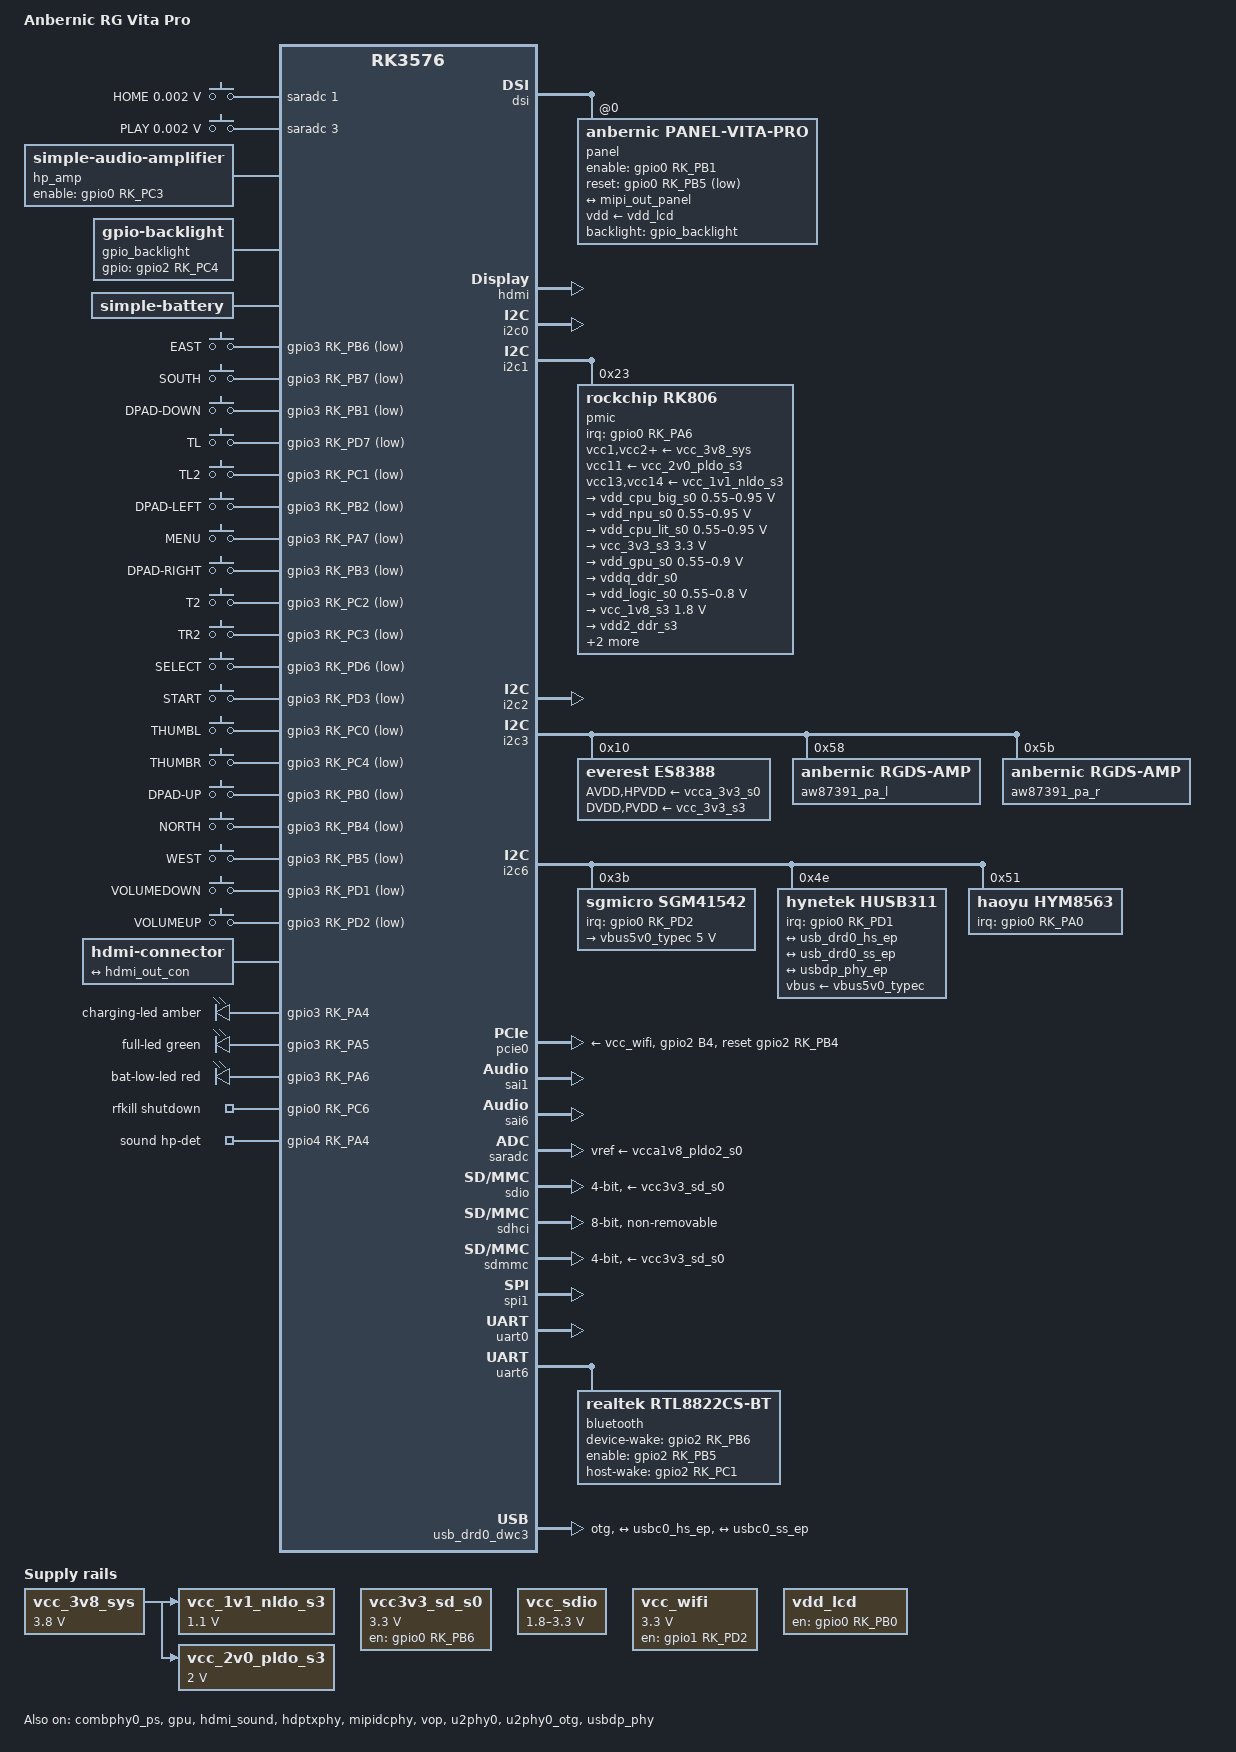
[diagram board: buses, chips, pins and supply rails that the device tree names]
// SPDX-License-Identifier: (GPL-2.0+ OR MIT)
/*
 * Copyright (c) 2026 Chris Morgan <macromorgan@hotmail.com>
 */

/dts-v1/;

#include <dt-bindings/gpio/gpio.h>
#include <dt-bindings/input/linux-event-codes.h>
#include <dt-bindings/leds/common.h>
#include <dt-bindings/pinctrl/rockchip.h>
#include <dt-bindings/pwm/pwm.h>
#include <dt-bindings/soc/rockchip,vop2.h>
#include <dt-bindings/usb/pd.h>

#include "rk3576.dtsi"

/ {
	model = "Anbernic RG Vita Pro";
	chassis-type = "handset";
	compatible = "anbernic,rg-vita-pro", "rockchip,rk3576";

	aliases {
		mmc0 = &sdhci;
		mmc1 = &sdmmc;
		mmc2 = &sdio;
	};

	chosen {
		stdout-path = "serial0:1500000n8";
	};

	adc_keys_home: adc-keys-home {
		compatible = "adc-keys";
		io-channel-names = "buttons";
		io-channels = <&saradc 1>;
		keyup-threshold-microvolt = <1800000>;
		poll-interval = <60>;

		button-home {
			label = "HOME";
			linux,code = <KEY_HOME>;
			press-threshold-microvolt = <1750>;
		};
	};

	adc_keys_play: adc-keys-play {
		compatible = "adc-keys";
		io-channel-names = "buttons";
		io-channels = <&saradc 3>;
		keyup-threshold-microvolt = <1300000>;
		poll-interval = <60>;

		button-play {
			label = "PLAY";
			linux,code = <KEY_PLAYPAUSE>;
			press-threshold-microvolt = <1750>;
		};
	};

	hp_amp: audio-amplifier {
		compatible = "simple-audio-amplifier";
		enable-gpios = <&gpio0 RK_PC3 GPIO_ACTIVE_HIGH>;
		pinctrl-0 = <&hp_amp_enable_h>;
		pinctrl-names = "default";
		sound-name-prefix = "Headphone Amp";
	};

	/*
	 * LEDs and Backlights can be controlled as a PWM, but PWM
	 * support is not yet available.
	 */
	gpio_backlight: backlight {
		compatible = "gpio-backlight";
		gpios = <&gpio2 RK_PC4 GPIO_ACTIVE_HIGH>;
		pinctrl-0 = <&led_backlight_h>;
		pinctrl-names = "default";
	};

	/*
	 * Battery values from BSP except for the following:
	 *
	 * factory-internal-resistance-micro-ohms - This was set to 80 which
	 * is likely incorrect and changed to 80000.
	 *
	 * charge-full-design-microamp-hours - Was set to 8000000 but the
	 * physical battery says 5000000.
	 *
	 * constant-charge-current-max-microamp - Was set to 10000000 which
	 * both seems high and exceeds what the charger hardware can do.
	 * Setting to 3800000 which is the maximum input current the charger
	 * can handle.
	 */
	battery: battery {
		compatible = "simple-battery";
		charge-full-design-microamp-hours = <5000000>;
		charge-term-current-microamp = <300000>;
		constant-charge-current-max-microamp = <3800000>;
		constant-charge-voltage-max-microvolt = <4350000>;
		factory-internal-resistance-micro-ohms = <80000>;
		precharge-current-microamp = <180000>;
		precharge-upper-limit-microvolt = <3600000>;
		voltage-max-design-microvolt = <4350000>;
		voltage-min-design-microvolt = <3000000>;
	};

	gpio_keys_control: gpio-keys-control {
		compatible = "gpio-keys";
		pinctrl-0 = <&gamepad_keys_l>;
		pinctrl-names = "default";

		button-a {
			gpios = <&gpio3 RK_PB6 GPIO_ACTIVE_LOW>;
			label = "EAST";
			linux,code = <BTN_EAST>;
		};

		button-b {
			gpios = <&gpio3 RK_PB7 GPIO_ACTIVE_LOW>;
			label = "SOUTH";
			linux,code = <BTN_SOUTH>;
		};

		button-down {
			gpios = <&gpio3 RK_PB1 GPIO_ACTIVE_LOW>;
			label = "DPAD-DOWN";
			linux,code = <BTN_DPAD_DOWN>;
		};

		button-l1 {
			gpios = <&gpio3 RK_PD7 GPIO_ACTIVE_LOW>;
			label = "TL";
			linux,code = <BTN_TL>;
		};

		button-l2 {
			gpios = <&gpio3 RK_PC1 GPIO_ACTIVE_LOW>;
			label = "TL2";
			linux,code = <BTN_TL2>;
		};

		button-left {
			gpios = <&gpio3 RK_PB2 GPIO_ACTIVE_LOW>;
			label = "DPAD-LEFT";
			linux,code = <BTN_DPAD_LEFT>;
		};

		button-menu {
			gpios = <&gpio3 RK_PA7 GPIO_ACTIVE_LOW>;
			label = "MENU";
			linux,code = <BTN_MODE>;
		};

		button-right {
			gpios = <&gpio3 RK_PB3 GPIO_ACTIVE_LOW>;
			label = "DPAD-RIGHT";
			linux,code = <BTN_DPAD_RIGHT>;
		};

		button-r1 {
			gpios = <&gpio3 RK_PC2 GPIO_ACTIVE_LOW>;
			label = "T2";
			linux,code = <BTN_TR>;
		};

		button-r2 {
			gpios = <&gpio3 RK_PC3 GPIO_ACTIVE_LOW>;
			label = "TR2";
			linux,code = <BTN_TR2>;
		};

		button-select {
			gpios = <&gpio3 RK_PD6 GPIO_ACTIVE_LOW>;
			label = "SELECT";
			linux,code = <BTN_SELECT>;
		};

		button-start {
			gpios = <&gpio3 RK_PD3 GPIO_ACTIVE_LOW>;
			label = "START";
			linux,code = <BTN_START>;
		};

		button-thumbl {
			gpios = <&gpio3 RK_PC0 GPIO_ACTIVE_LOW>;
			label = "THUMBL";
			linux,code = <BTN_THUMBL>;
		};

		button-thumbr {
			gpios = <&gpio3 RK_PC4 GPIO_ACTIVE_LOW>;
			label = "THUMBR";
			linux,code = <BTN_THUMBR>;
		};

		button-up {
			gpios = <&gpio3 RK_PB0 GPIO_ACTIVE_LOW>;
			label = "DPAD-UP";
			linux,code = <BTN_DPAD_UP>;
		};

		button-x {
			gpios = <&gpio3 RK_PB4 GPIO_ACTIVE_LOW>;
			label = "NORTH";
			linux,code = <BTN_NORTH>;
		};

		button-y {
			gpios = <&gpio3 RK_PB5 GPIO_ACTIVE_LOW>;
			label = "WEST";
			linux,code = <BTN_WEST>;
		};
	};

	gpio_keys_volume: gpio-keys-volume {
		compatible = "gpio-keys";
		autorepeat;
		pinctrl-0 = <&vol_keys_l>;
		pinctrl-names = "default";

		vol-down-key {
			gpios = <&gpio3 RK_PD1 GPIO_ACTIVE_LOW>;
			label = "VOLUMEDOWN";
			linux,code = <KEY_VOLUMEDOWN>;
		};

		vol-up-key {
			gpios = <&gpio3 RK_PD2 GPIO_ACTIVE_LOW>;
			label = "VOLUMEUP";
			linux,code = <KEY_VOLUMEUP>;
		};
	};

	hdmi-con {
		compatible = "hdmi-connector";
		type = "c";

		port {
			hdmi_con_in: endpoint {
				remote-endpoint = <&hdmi_out_con>;
			};
		};
	};

	gpio_leds: leds {
		compatible = "gpio-leds";
		pinctrl-0 = <&led_amber_h>, <&led_green_h>, <&led_red_h>;
		pinctrl-names = "default";

		charging-led {
			color = <LED_COLOR_ID_AMBER>;
			function = LED_FUNCTION_CHARGING;
			gpios = <&gpio3 RK_PA4 GPIO_ACTIVE_HIGH>;
		};

		full-led {
			color = <LED_COLOR_ID_GREEN>;
			function = LED_FUNCTION_POWER;
			gpios = <&gpio3 RK_PA5 GPIO_ACTIVE_HIGH>;
		};

		bat-low-led {
			color = <LED_COLOR_ID_RED>;
			function = LED_FUNCTION_ALARM;
			gpios = <&gpio3 RK_PA6 GPIO_ACTIVE_HIGH>;
		};
	};

	vcc_1v1_nldo_s3: regulator-vcc-1v1-nldo-s3 {
		compatible = "regulator-fixed";
		regulator-always-on;
		regulator-boot-on;
		regulator-max-microvolt = <1100000>;
		regulator-min-microvolt = <1100000>;
		regulator-name = "vcc_1v1_nldo_s3";
		vin-supply = <&vcc_3v8_sys>;
	};

	vcc_2v0_pldo_s3: regulator-vcc-2v0-pldo-s3 {
		compatible = "regulator-fixed";
		regulator-always-on;
		regulator-boot-on;
		regulator-max-microvolt = <2000000>;
		regulator-min-microvolt = <2000000>;
		regulator-name = "vcc_2v0_pldo_s3";
		vin-supply = <&vcc_3v8_sys>;
	};

	vcc_3v8_sys: regulator-vcc-3v8-sys {
		compatible = "regulator-fixed";
		regulator-always-on;
		regulator-boot-on;
		regulator-max-microvolt = <3800000>;
		regulator-min-microvolt = <3800000>;
		regulator-name = "vcc_3v8_sys";
	};

	vcc3v3_sd_s0: regulator-vcc3v3-sd-s0 {
		compatible = "regulator-fixed";
		enable-active-high;
		gpio = <&gpio0 RK_PB6 GPIO_ACTIVE_HIGH>;
		pinctrl-0 = <&vcc_3v3_sd_s0_h>;
		pinctrl-names = "default";
		regulator-max-microvolt = <3300000>;
		regulator-min-microvolt = <3300000>;
		regulator-name = "vcc3v3_sd_s0";
		regulator-state-mem {
			regulator-off-in-suspend;
		};
	};

	vcc_sdio: regulator-vcc-sdio {
		compatible = "regulator-gpio";
		regulator-name = "vcc_sdio";
		gpios = <&gpio0 RK_PB4 GPIO_ACTIVE_HIGH>;
		pinctrl-0 = <&vcc_sdio_h>;
		pinctrl-names = "default";
		regulator-max-microvolt = <3300000>;
		regulator-min-microvolt = <1800000>;
		states = <1800000 0>, <3300000 1>;
	};

	vcc_wifi: regulator-vcc-wifi {
		compatible = "regulator-fixed";
		regulator-name = "vcc_wifi";
		enable-active-high;
		gpios = <&gpio1 RK_PD2 GPIO_ACTIVE_HIGH>;
		pinctrl-0 = <&vcc_wifi_h>;
		pinctrl-names = "default";
		regulator-max-microvolt = <3300000>;
		regulator-min-microvolt = <3300000>;
		regulator-state-mem {
			regulator-on-in-suspend;
		};
	};

	vdd_lcd: regulator-vdd-lcd {
		compatible = "regulator-fixed";
		regulator-name = "vdd_lcd";
		regulator-always-on;
		enable-active-high;
		gpios = <&gpio0 RK_PB0 GPIO_ACTIVE_HIGH>;
		pinctrl-0 = <&vdd_lcd_h>;
		pinctrl-names = "default";
		regulator-state-mem {
			regulator-off-in-suspend;
		};
	};

	rfkill {
		compatible = "rfkill-gpio";
		pinctrl-names = "default";
		pinctrl-0 = <&wifi_en_h>;
		radio-type = "wlan";
		shutdown-gpios = <&gpio0 RK_PC6 GPIO_ACTIVE_HIGH>;
	};

	sound: sound {
		compatible = "simple-audio-card";
		pinctrl-0 = <&hp_det>;
		pinctrl-names = "default";
		simple-audio-card,aux-devs = <&aw87391_pa_l>, <&aw87391_pa_r>,
					     <&hp_amp>;
		simple-audio-card,format = "i2s";
		simple-audio-card,hp-det-gpios = <&gpio4 RK_PA4 GPIO_ACTIVE_HIGH>;
		simple-audio-card,mclk-fs = <256>;
		simple-audio-card,name = "rockchip,es8388-codec";
		simple-audio-card,pin-switches = "Headphones", "Internal Speakers";
		simple-audio-card,routing =
			"LINPUT1", "Mic Jack",
			"LINPUT2", "Mic Jack",
			"RINPUT1", "Onboard Microphone",
			"RINPUT2", "Onboard Microphone",
			"Headphones", "Headphone Amp OUTL",
			"Headphones", "Headphone Amp OUTR",
			"Headphone Amp INL", "LOUT1",
			"Headphone Amp INR", "ROUT1",
			"Internal Speakers", "Left Amp OUT",
			"Internal Speakers", "Right Amp OUT",
			"Left Amp IN", "LOUT2",
			"Right Amp IN", "ROUT2";
		simple-audio-card,widgets =
			"Microphone", "Mic Jack",
			"Microphone", "Onboard Microphone",
			"Headphone", "Headphones",
			"Speaker", "Internal Speakers";
		status = "okay";

		simple-audio-card,codec {
			sound-dai = <&es8388>;
			system-clock-frequency = <12288000>;
		};

		simple-audio-card,cpu {
			sound-dai = <&sai1>;
		};
	};
};

&combphy0_ps {
	status = "okay";
};

&cpu_b0 {
	cpu-supply = <&vdd_cpu_big_s0>;
};

&cpu_b1 {
	cpu-supply = <&vdd_cpu_big_s0>;
};

&cpu_b2 {
	cpu-supply = <&vdd_cpu_big_s0>;
};

&cpu_b3 {
	cpu-supply = <&vdd_cpu_big_s0>;
};

&cpu_l0 {
	cpu-supply = <&vdd_cpu_lit_s0>;
};

&cpu_l1 {
	cpu-supply = <&vdd_cpu_lit_s0>;
};

&cpu_l2 {
	cpu-supply = <&vdd_cpu_lit_s0>;
};

&cpu_l3 {
	cpu-supply = <&vdd_cpu_lit_s0>;
};

&dsi {
	status = "okay";
	#address-cells = <1>;
	#size-cells = <0>;

	panel: panel@0 {
		compatible = "anbernic,panel-vita-pro", "anbernic,td4310";
		reg = <0>;
		backlight = <&gpio_backlight>;
		enable-gpios = <&gpio0 RK_PB1 GPIO_ACTIVE_HIGH>;
		pinctrl-names = "default";
		pinctrl-0 = <&lcd_enable>, <&lcd_rst>;
		reset-gpios = <&gpio0 RK_PB5 GPIO_ACTIVE_LOW>;
		rotation = <270>;
		vdd-supply = <&vdd_lcd>;

		port {
			mipi_in_panel: endpoint {
				remote-endpoint = <&mipi_out_panel>;
			};
		};
	};
};

&dsi_in {
	dsi_in_vp1: endpoint {
		remote-endpoint = <&vp1_out_dsi>;
	};
};

&dsi_out {
	mipi_out_panel: endpoint {
		remote-endpoint = <&mipi_in_panel>;
	};
};

&gpu {
	mali-supply = <&vdd_gpu_s0>;
	status = "okay";
};

&hdmi {
	status = "okay";
};

&hdmi_in {
	hdmi_in_vp0: endpoint {
		remote-endpoint = <&vp0_out_hdmi>;
	};
};

&hdmi_out {
	hdmi_out_con: endpoint {
		remote-endpoint = <&hdmi_con_in>;
	};
};

&hdmi_sound {
	status = "okay";
};

&hdptxphy {
	status = "okay";
};

&i2c0 {
	pinctrl-0 = <&i2c0m1_xfer>;
	pinctrl-names = "default";
	status = "okay";

	/* synaptics,dsx-i2c touchscreen at 0x70 */
};

&i2c1 {
	status = "okay";

	pmic@23 {
		compatible = "rockchip,rk806";
		reg = <0x23>;
		#gpio-cells = <2>;
		gpio-controller;
		interrupt-parent = <&gpio0>;
		interrupts = <RK_PA6 IRQ_TYPE_LEVEL_LOW>;
		pinctrl-names = "default";
		pinctrl-0 = <&pmic_pins
			     &rk806_dvs1_null
			     &rk806_dvs2_null
			     &rk806_dvs3_null>;
		system-power-controller;
		vcc1-supply = <&vcc_3v8_sys>;
		vcc2-supply = <&vcc_3v8_sys>;
		vcc3-supply = <&vcc_3v8_sys>;
		vcc4-supply = <&vcc_3v8_sys>;
		vcc5-supply = <&vcc_3v8_sys>;
		vcc6-supply = <&vcc_3v8_sys>;
		vcc7-supply = <&vcc_3v8_sys>;
		vcc8-supply = <&vcc_3v8_sys>;
		vcc9-supply = <&vcc_3v8_sys>;
		vcc10-supply = <&vcc_3v8_sys>;
		vcc11-supply = <&vcc_2v0_pldo_s3>;
		vcc12-supply = <&vcc_3v8_sys>;
		vcc13-supply = <&vcc_1v1_nldo_s3>;
		vcc14-supply = <&vcc_1v1_nldo_s3>;
		vcca-supply = <&vcc_3v8_sys>;

		rk806_dvs1_null: dvs1-null-pins {
			pins = "gpio_pwrctrl1";
			function = "pin_fun0";
		};

		rk806_dvs2_null: dvs2-null-pins {
			pins = "gpio_pwrctrl2";
			function = "pin_fun0";
		};

		rk806_dvs3_null: dvs3-null-pins {
			pins = "gpio_pwrctrl3";
			function = "pin_fun0";
		};

		regulators {
			vdd_cpu_big_s0: dcdc-reg1 {
				regulator-always-on;
				regulator-boot-on;
				regulator-enable-ramp-delay = <400>;
				regulator-min-microvolt = <550000>;
				regulator-max-microvolt = <950000>;
				regulator-name = "vdd_cpu_big_s0";
				regulator-ramp-delay = <12500>;

				regulator-state-mem {
					regulator-off-in-suspend;
				};
			};

			vdd_npu_s0: dcdc-reg2 {
				regulator-boot-on;
				regulator-enable-ramp-delay = <400>;
				regulator-min-microvolt = <550000>;
				regulator-max-microvolt = <950000>;
				regulator-name = "vdd_npu_s0";
				regulator-ramp-delay = <12500>;

				regulator-state-mem {
					regulator-off-in-suspend;
				};
			};

			vdd_cpu_lit_s0: dcdc-reg3 {
				regulator-always-on;
				regulator-boot-on;
				regulator-min-microvolt = <550000>;
				regulator-max-microvolt = <950000>;
				regulator-name = "vdd_cpu_lit_s0";
				regulator-ramp-delay = <12500>;

				regulator-state-mem {
					regulator-off-in-suspend;
					regulator-suspend-microvolt = <750000>;
				};
			};

			vcc_3v3_s3: dcdc-reg4 {
				regulator-always-on;
				regulator-boot-on;
				regulator-min-microvolt = <3300000>;
				regulator-max-microvolt = <3300000>;
				regulator-name = "vcc_3v3_s3";

				regulator-state-mem {
					regulator-on-in-suspend;
					regulator-suspend-microvolt = <3300000>;
				};
			};

			vdd_gpu_s0: dcdc-reg5 {
				regulator-boot-on;
				regulator-enable-ramp-delay = <400>;
				regulator-min-microvolt = <550000>;
				regulator-max-microvolt = <900000>;
				regulator-name = "vdd_gpu_s0";
				regulator-ramp-delay = <12500>;

				regulator-state-mem {
					regulator-off-in-suspend;
					regulator-suspend-microvolt = <850000>;
				};
			};

			vddq_ddr_s0: dcdc-reg6 {
				regulator-always-on;
				regulator-boot-on;
				regulator-name = "vddq_ddr_s0";

				regulator-state-mem {
					regulator-off-in-suspend;
				};
			};

			vdd_logic_s0: dcdc-reg7 {
				regulator-always-on;
				regulator-boot-on;
				regulator-min-microvolt = <550000>;
				regulator-max-microvolt = <800000>;
				regulator-name = "vdd_logic_s0";

				regulator-state-mem {
					regulator-off-in-suspend;
				};
			};

			vcc_1v8_s3: dcdc-reg8 {
				regulator-always-on;
				regulator-boot-on;
				regulator-min-microvolt = <1800000>;
				regulator-max-microvolt = <1800000>;
				regulator-name = "vcc_1v8_s3";

				regulator-state-mem {
					regulator-on-in-suspend;
					regulator-suspend-microvolt = <1800000>;
				};
			};

			vdd2_ddr_s3: dcdc-reg9 {
				regulator-always-on;
				regulator-boot-on;
				regulator-name = "vdd2_ddr_s3";

				regulator-state-mem {
					regulator-on-in-suspend;
				};
			};

			vdd_ddr_s0: dcdc-reg10 {
				regulator-always-on;
				regulator-boot-on;
				regulator-min-microvolt = <550000>;
				regulator-max-microvolt = <1200000>;
				regulator-name = "vdd_ddr_s0";

				regulator-state-mem {
					regulator-off-in-suspend;
				};
			};

			vcca_1v8_s0: pldo-reg1 {
				regulator-always-on;
				regulator-boot-on;
				regulator-min-microvolt = <1800000>;
				regulator-max-microvolt = <1800000>;
				regulator-name = "vcca_1v8_s0";

				regulator-state-mem {
					regulator-off-in-suspend;
				};
			};

			vcca1v8_pldo2_s0: pldo-reg2 {
				regulator-always-on;
				regulator-boot-on;
				regulator-min-microvolt = <1800000>;
				regulator-max-microvolt = <1800000>;
				regulator-name = "vcca1v8_pldo2_s0";

				regulator-state-mem {
					regulator-off-in-suspend;
				};
			};

			vdda_1v2_s0: pldo-reg3 {
				regulator-always-on;
				regulator-boot-on;
				regulator-min-microvolt = <1200000>;
				regulator-max-microvolt = <1200000>;
				regulator-name = "vdda_1v2_s0";

				regulator-state-mem {
					regulator-off-in-suspend;
				};
			};

			vcca_3v3_s0: pldo-reg4 {
				regulator-always-on;
				regulator-boot-on;
				regulator-min-microvolt = <3300000>;
				regulator-max-microvolt = <3300000>;
				regulator-name = "vcca_3v3_s0";

				regulator-state-mem {
					regulator-off-in-suspend;
				};
			};

			vccio_sd_s0: pldo-reg5 {
				regulator-always-on;
				regulator-boot-on;
				regulator-min-microvolt = <1800000>;
				regulator-max-microvolt = <3300000>;
				regulator-name = "vccio_sd_s0";

				regulator-state-mem {
					regulator-on-in-suspend;
				};
			};

			vcca1v8_pldo6_s3: pldo-reg6 {
				regulator-always-on;
				regulator-boot-on;
				regulator-min-microvolt = <1800000>;
				regulator-max-microvolt = <1800000>;
				regulator-name = "vcca1v8_pldo6_s3";

				regulator-state-mem {
					regulator-on-in-suspend;
					regulator-suspend-microvolt = <1800000>;
				};
			};

			vdd_0v75_s3: nldo-reg1 {
				regulator-always-on;
				regulator-boot-on;
				regulator-min-microvolt = <750000>;
				regulator-max-microvolt = <750000>;
				regulator-name = "vdd_0v75_s3";

				regulator-state-mem {
					regulator-on-in-suspend;
					regulator-suspend-microvolt = <750000>;
				};
			};

			vdda_ddr_pll_s0: nldo-reg2 {
				regulator-always-on;
				regulator-boot-on;
				regulator-min-microvolt = <850000>;
				regulator-max-microvolt = <850000>;
				regulator-name = "vdda_ddr_pll_s0";

				regulator-state-mem {
					regulator-off-in-suspend;
				};
			};

			vdda0v75_hdmi_s0: nldo-reg3 {
				regulator-always-on;
				regulator-boot-on;
				regulator-min-microvolt = <750000>;
				regulator-max-microvolt = <750000>;
				regulator-name = "vdda0v75_hdmi_s0";

				regulator-state-mem {
					regulator-off-in-suspend;
				};
			};

			vdda_0v85_s0: nldo-reg4 {
				regulator-always-on;
				regulator-boot-on;
				regulator-min-microvolt = <850000>;
				regulator-max-microvolt = <850000>;
				regulator-name = "vdda_0v85_s0";

				regulator-state-mem {
					regulator-off-in-suspend;
				};
			};

			vdda_0v75_s0: nldo-reg5 {
				regulator-always-on;
				regulator-boot-on;
				regulator-min-microvolt = <750000>;
				regulator-max-microvolt = <750000>;
				regulator-name = "vdda_0v75_s0";

				regulator-state-mem {
					regulator-off-in-suspend;
				};
			};
		};
	};
};

&i2c2 {
	status = "okay";

	/* inv,icm42607 IMU at 0x68 */
};

&i2c3 {
	status = "okay";

	es8388: audio-codec@10 {
		compatible = "everest,es8388", "everest,es8328";
		reg = <0x10>;
		assigned-clock-rates = <12288000>;
		assigned-clocks = <&cru CLK_SAI1_MCLKOUT_TO_IO>;
		AVDD-supply = <&vcca_3v3_s0>;
		clocks = <&cru CLK_SAI1_MCLKOUT_TO_IO>;
		DVDD-supply = <&vcc_3v3_s3>;
		HPVDD-supply = <&vcca_3v3_s0>;
		pinctrl-0 = <&sai1m0_mclk>;
		pinctrl-names = "default";
		PVDD-supply = <&vcc_3v3_s3>;
		#sound-dai-cells = <0>;
	};

	aw87391_pa_l: audio-codec@58 {
		compatible = "anbernic,rgds-amp", "awinic,aw87391";
		reg = <0x58>;
		#sound-dai-cells = <0>;
		sound-name-prefix = "Left Amp";
	};

	aw87391_pa_r: audio-codec@5b {
		compatible = "anbernic,rgds-amp", "awinic,aw87391";
		reg = <0x5b>;
		#sound-dai-cells = <0>;
		sound-name-prefix = "Right Amp";
	};
};

&i2c6 {
	pinctrl-0 = <&i2c6m3_xfer>;
	pinctrl-names = "default";
	status = "okay";

	sgm41542: charger@3b {
		compatible = "sgmicro,sgm41542";
		reg = <0x3b>;
		input-current-limit-microamp = <3000000>;
		input-voltage-limit-microvolt = <4500000>;
		interrupt-parent = <&gpio0>;
		interrupts = <RK_PD2 IRQ_TYPE_EDGE_FALLING>;
		pinctrl-0 = <&charger_irq>;
		pinctrl-names = "default";
		monitored-battery = <&battery>;
		status = "okay";

		regulators {
			vbus5v0_typec: otg-vbus {
				regulator-name = "vbus5v0_typec";
				regulator-max-microvolt = <5000000>;
				regulator-min-microvolt = <5000000>;

				regulator-state-mem {
					regulator-off-in-suspend;
				};
			};
		};
	};

	/* Unused iSmartWare SW2001 encryption device at 0x3c */

	husb311: typec-port@4e {
		compatible = "hynetek,husb311", "richtek,rt1711h";
		reg = <0x4e>;
		interrupt-parent = <&gpio0>;
		interrupts = <RK_PD1 IRQ_TYPE_LEVEL_LOW>;
		pinctrl-0 = <&usbc_int>;
		pinctrl-names = "default";
		status = "okay";
		vbus-supply = <&vbus5v0_typec>;

		connector {
			compatible = "usb-c-connector";
			data-role = "dual";
			label = "USB-C";
			op-sink-microwatt = <10000000>;
			power-role = "dual";
			try-power-role  = "sink";

			sink-pdos = <PDO_FIXED(5000, 3000, PDO_FIXED_USB_COMM)
				     PDO_FIXED(9000, 2000, PDO_FIXED_USB_COMM)>;
			source-pdos = <PDO_FIXED(5000, 3000, PDO_FIXED_USB_COMM)>;

			altmodes {
				displayport {
					svid = /bits/ 16 <0xff01>;
					vdo = <0xffffffff>;
				};
			};

			ports {
				#address-cells = <1>;
				#size-cells = <0>;

				port@0 {
					reg = <0>;
					usbc0_hs_ep: endpoint {
						remote-endpoint = <&usb_drd0_hs_ep>;
					};
				};
				port@1 {
					reg = <1>;
					usbc0_ss_ep: endpoint {
						remote-endpoint = <&usb_drd0_ss_ep>;
					};
				};
				port@2 {
					reg = <2>;
					usbc0_dp_ep: endpoint {
						remote-endpoint = <&usbdp_phy_ep>;
					};
				};
			};
		};
	};

	hym8563: rtc@51 {
		compatible = "haoyu,hym8563";
		reg = <0x51>;
		#clock-cells = <0>;
		clock-output-names = "hym8563";
		interrupt-parent = <&gpio0>;
		interrupts = <RK_PA0 IRQ_TYPE_LEVEL_LOW>;
		pinctrl-names = "default";
		pinctrl-0 = <&hym8563_int>;
		wakeup-source;
	};

	/* cellwise,cw221X battery manager at 0x64 */
};

&mipidcphy {
	status = "okay";
};

&pcie0 {
	pinctrl-names = "default";
	pinctrl-0 = <&pcie0_perstn>;
	reset-gpios = <&gpio2 RK_PB4 GPIO_ACTIVE_HIGH>;
	vpcie3v3-supply = <&vcc_wifi>;
	status = "okay";
};

&pinctrl {
	audio {
		hp_amp_enable_h: hp-amp-enable {
			rockchip,pins = <0 RK_PC3 RK_FUNC_GPIO &pcfg_pull_none>;
		};

		hp_det: hp-det {
			rockchip,pins = <4 RK_PA4 RK_FUNC_GPIO &pcfg_pull_up>;
		};
	};

	bluetooth {
		bt_reset_gpio: bt-reset-pin {
			rockchip,pins = <2 RK_PB5 RK_FUNC_GPIO &pcfg_pull_none>;
		};

		bt_wake_gpio: bt-wake-pin {
			rockchip,pins = <2 RK_PB6 RK_FUNC_GPIO &pcfg_pull_none>;
		};

		bt_wake_host_irq: bt-wake-host-irq {
			rockchip,pins = <2 RK_PC1 RK_FUNC_GPIO &pcfg_pull_up>;
		};
	};

	charger {
		charger_irq: charger-irq {
			rockchip,pins = <0 RK_PD2 RK_FUNC_GPIO &pcfg_pull_up>;
		};
	};

	display {
		lcd_enable: lcd-enable {
			rockchip,pins = <0 RK_PB1 RK_FUNC_GPIO &pcfg_pull_none>;
		};

		lcd_rst: lcd-rst {
			rockchip,pins = <0 RK_PB5 RK_FUNC_GPIO &pcfg_pull_down>;
		};
	};

	gpio-keys {
		vol_keys_l: vol-keys_l {
			rockchip,pins =
				<3 RK_PD1 RK_FUNC_GPIO &pcfg_pull_up>,
				<3 RK_PD2 RK_FUNC_GPIO &pcfg_pull_up>;
		};

		gamepad_keys_l: gamepad-keys-l {
			rockchip,pins =
				<3 RK_PA7 RK_FUNC_GPIO &pcfg_pull_up>,
				<3 RK_PB0 RK_FUNC_GPIO &pcfg_pull_up>,
				<3 RK_PB1 RK_FUNC_GPIO &pcfg_pull_up>,
				<3 RK_PB2 RK_FUNC_GPIO &pcfg_pull_up>,
				<3 RK_PB3 RK_FUNC_GPIO &pcfg_pull_up>,
				<3 RK_PB4 RK_FUNC_GPIO &pcfg_pull_up>,
				<3 RK_PB5 RK_FUNC_GPIO &pcfg_pull_up>,
				<3 RK_PB6 RK_FUNC_GPIO &pcfg_pull_up>,
				<3 RK_PB7 RK_FUNC_GPIO &pcfg_pull_up>,
				<3 RK_PC0 RK_FUNC_GPIO &pcfg_pull_up>,
				<3 RK_PC1 RK_FUNC_GPIO &pcfg_pull_up>,
				<3 RK_PC2 RK_FUNC_GPIO &pcfg_pull_up>,
				<3 RK_PC3 RK_FUNC_GPIO &pcfg_pull_up>,
				<3 RK_PC4 RK_FUNC_GPIO &pcfg_pull_up>,
				<3 RK_PD3 RK_FUNC_GPIO &pcfg_pull_up>,
				<3 RK_PD6 RK_FUNC_GPIO &pcfg_pull_up>,
				<3 RK_PD7 RK_FUNC_GPIO &pcfg_pull_up>;
		};
	};

	gpio-leds {
		led_amber_h: led-amber-h {
			rockchip,pins = <3 RK_PA4 RK_FUNC_GPIO &pcfg_pull_none>;
		};

		led_backlight_h: led-backlight-h {
			rockchip,pins = <2 RK_PC4 RK_FUNC_GPIO &pcfg_pull_none>;
		};

		led_green_h: led-green-h {
			rockchip,pins = <3 RK_PA5 RK_FUNC_GPIO &pcfg_pull_none>;
		};

		led_red_h: led-red-h {
			rockchip,pins = <3 RK_PA6 RK_FUNC_GPIO &pcfg_pull_none>;
		};
	};

	pcie {
		pcie0_perstn: pcie0-perstn {
			rockchip,pins = <2 RK_PB4 RK_FUNC_GPIO &pcfg_pull_up>;
		};
	};

	regulator {
		vcc_3v3_sd_s0_h: vcc-3v3-sd-s0-h {
			rockchip,pins = <0 RK_PB6 RK_FUNC_GPIO &pcfg_pull_none>;
		};

		vcc_sdio_h: vcc-sdio-h {
			rockchip,pins = <0 RK_PB4 RK_FUNC_GPIO &pcfg_pull_none>;
		};

		vcc_wifi_h: vcc-wifi-h {
			rockchip,pins = <1 RK_PD2 RK_FUNC_GPIO &pcfg_pull_none>;
		};

		vdd_lcd_h: vdd-lcd-h {
			rockchip,pins = <0 RK_PB0 RK_FUNC_GPIO &pcfg_pull_none>;
		};
	};

	rtc {
		hym8563_int: hym8563-int {
			rockchip,pins = <0 RK_PA0 RK_FUNC_GPIO &pcfg_pull_up>;
		};
	};

	touch {
		touch_int: touch-int {
			rockchip,pins = <0 RK_PC5 RK_FUNC_GPIO &pcfg_pull_up>;
		};
	};

	usb {
		usbc_int: usbc-int {
			rockchip,pins = <0 RK_PD1 RK_FUNC_GPIO &pcfg_pull_up>;
		};

		usbc0_sbu1: usbc0-sbu1 {
			rockchip,pins = <4 RK_PB6 RK_FUNC_GPIO &pcfg_pull_down>;
		};

		usbc0_sbu2: usbc0-sbu2 {
			rockchip,pins = <4 RK_PB7 RK_FUNC_GPIO &pcfg_pull_down>;
		};
	};

	wifi {
		wifi_en_h: wifi-en-h {
			rockchip,pins = <0 RK_PC6 RK_FUNC_GPIO &pcfg_pull_none>;
		};
	};
};

&sai1 {
	pinctrl-0 = <&sai1m0_lrck
		     &sai1m0_sclk
		     &sai1m0_sdi0
		     &sai1m0_sdo0>;
	pinctrl-names = "default";
	status = "okay";
};

&sai6 {
	status = "okay";
};

&saradc {
	vref-supply = <&vcca1v8_pldo2_s0>;
	status = "okay";
};

&sdio {
	bus-width = <4>;
	cap-mmc-highspeed;
	cap-sd-highspeed;
	disable-wp;
	max-frequency = <150000000>;
	no-mmc;
	no-sdio;
	pinctrl-0 = <&sdmmc1m0_bus4>, <&sdmmc1m0_clk>,
		    <&sdmmc1m0_cmd>, <&sdmmc1m0_det>;
	pinctrl-names = "default";
	sd-uhs-sdr12;
	sd-uhs-sdr25;
	sd-uhs-sdr50;
	sd-uhs-sdr104;
	vmmc-supply = <&vcc3v3_sd_s0>;
	vqmmc-supply = <&vcc_sdio>;
	status = "okay";
};

&sdhci {
	bus-width = <8>;
	full-pwr-cycle-in-suspend;
	no-sd;
	no-sdio;
	non-removable;
	mmc-hs400-1_8v;
	mmc-hs400-enhanced-strobe;
	status = "okay";
};

&sdmmc {
	bus-width = <4>;
	cap-mmc-highspeed;
	cap-sd-highspeed;
	disable-wp;
	max-frequency = <150000000>;
	no-sdio;
	no-mmc;
	pinctrl-0 = <&sdmmc0_bus4>, <&sdmmc0_clk>,
		    <&sdmmc0_cmd>, <&sdmmc0_det>;
	pinctrl-names = "default";
	sd-uhs-sdr12;
	sd-uhs-sdr25;
	sd-uhs-sdr50;
	sd-uhs-sdr104;
	vmmc-supply = <&vcc3v3_sd_s0>;
	vqmmc-supply = <&vccio_sd_s0>;
	status = "okay";
};

&spi1 {
	num-cs = <1>;
	pinctrl-0 = <&spi1m2_pins>, <&spi1m2_csn0>;
	status = "okay";

	/* SPI controlled MCU for joystick and joystick LEDs. */
};

&vop {
	status = "okay";
};

&vop_mmu {
	status = "okay";
};

&vp0 {
	vp0_out_hdmi: endpoint@ROCKCHIP_VOP2_EP_HDMI0 {
		reg = <ROCKCHIP_VOP2_EP_HDMI0>;
		remote-endpoint = <&hdmi_in_vp0>;
	};
};

&vp1 {
	vp1_out_dsi: endpoint@ROCKCHIP_VOP2_EP_MIPI0 {
		reg = <ROCKCHIP_VOP2_EP_MIPI0>;
		remote-endpoint = <&dsi_in_vp1>;
	};
};

&u2phy0 {
	status = "okay";
};

&u2phy0_otg {
	status = "okay";
};

&uart0 {
	status = "okay";
};

&uart6 {
	pinctrl-0 = <&uart6m1_xfer>, <&uart6m1_ctsn>, <&uart6m1_rtsn>;
	pinctrl-names = "default";
	uart-has-rtscts;
	status = "okay";

	bluetooth {
		compatible = "realtek,rtl8822cs-bt";
		device-wake-gpios = <&gpio2 RK_PB6 GPIO_ACTIVE_HIGH>;
		enable-gpios = <&gpio2 RK_PB5 GPIO_ACTIVE_HIGH>;
		host-wake-gpios = <&gpio2 RK_PC1 GPIO_ACTIVE_HIGH>;
		pinctrl-0 = <&bt_reset_gpio>, <&bt_wake_gpio>, <&bt_wake_host_irq>;
		pinctrl-names = "default";
	};
};

&usbdp_phy {
	mode-switch;
	orientation-switch;
	pinctrl-names = "default";
	pinctrl-0 = <&usbc0_sbu1 &usbc0_sbu2>;
	sbu1-dc-gpios = <&gpio4 RK_PB6 GPIO_ACTIVE_HIGH>;
	sbu2-dc-gpios = <&gpio4 RK_PB7 GPIO_ACTIVE_HIGH>;
	status = "okay";

	port {
		usbdp_phy_ep: endpoint {
			remote-endpoint = <&usbc0_dp_ep>;
		};
	};
};

&usb_drd0_dwc3 {
	usb-role-switch;
	dr_mode = "otg";
	status = "okay";

	ports {
		#address-cells = <1>;
		#size-cells = <0>;

		port@0 {
			reg = <0>;
			usb_drd0_hs_ep: endpoint {
				remote-endpoint = <&usbc0_hs_ep>;
			};
		};

		port@1 {
			reg = <1>;
			usb_drd0_ss_ep: endpoint {
				remote-endpoint = <&usbc0_ss_ep>;
			};
		};
	};
};
